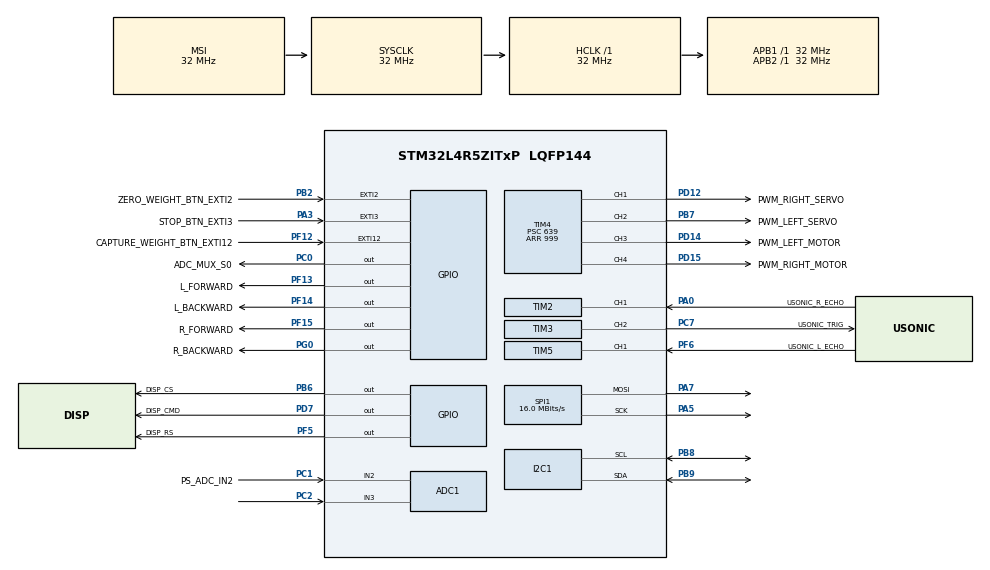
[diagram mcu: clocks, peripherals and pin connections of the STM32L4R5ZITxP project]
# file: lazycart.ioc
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ADC1.Channel-9\#ChannelRegularConversion=ADC_CHANNEL_2
ADC1.ContinuousConvMode=DISABLE
ADC1.DMAContinuousRequests=DISABLE
ADC1.NbrOfConversionFlag=1
ADC1.OffsetNumber-9\#ChannelRegularConversion=ADC_OFFSET_NONE
ADC1.Rank-9\#ChannelRegularConversion=1
ADC1.SamplingTime-9\#ChannelRegularConversion=ADC_SAMPLETIME_2CYCLES_5
ADC1.SingleDiff-9\#ChannelRegularConversion=ADC_DIFFERENTIAL_ENDED
ADC1.master=1
I2C1.Timing=0x00707CBB
Mcu.Family=STM32L4
Mcu.Name=STM32L4R5ZITxP
Mcu.Package=LQFP144
NVIC.EXTI15_10_IRQn=true\:0\:0\:false\:false\:true\:true\:true\:true
NVIC.EXTI2_IRQn=true\:0\:0\:false\:false\:true\:true\:true\:true
NVIC.EXTI3_IRQn=true\:0\:0\:false\:false\:true\:true\:true\:true
NVIC.PriorityGroup=NVIC_PRIORITYGROUP_3
NVIC.TIM1_UP_TIM16_IRQn=true\:0\:0\:true\:false\:true\:true\:true\:true
NVIC.TIM2_IRQn=true\:0\:0\:false\:false\:true\:true\:true\:true
NVIC.TIM5_IRQn=true\:0\:0\:false\:false\:true\:true\:true\:true
NVIC.TIM7_IRQn=true\:0\:0\:false\:false\:true\:true\:true\:true
PA0.GPIO_Label=USONIC_R_ECHO
PA0.Signal=S_TIM2_CH1
PA1.Signal=ADCx_IN6
PA10.Signal=USB_OTG_FS_ID
PA13\ (JTMS/SWDIO).Signal=SYS_JTMS-SWDIO
PA14\ (JTCK/SWCLK).Signal=SYS_JTCK-SWCLK
PA3.GPIO_Label=STOP_BTN_EXTI3
PA3.Signal=GPXTI3
PA4.Signal=SPI1_NSS
PA5.Mode=TX_Only_Simplex_Unidirect_Master
PA5.Signal=SPI1_SCK
PA6.Signal=SPI1_MISO
PA7.Mode=TX_Only_Simplex_Unidirect_Master
PA7.Signal=SPI1_MOSI
PA8.Signal=USB_OTG_FS_SOF
PA9.Signal=USB_OTG_FS_VBUS
PB0.Signal=S_TIM3_CH3
PB1.Signal=ADCx_IN16
PB10.Signal=S_TIM2_CH3
PB12.Signal=SAI2_FS_A
PB13.Signal=SAI2_SCK_A
PB14.Signal=S_TIM15_CH1
PB15.Signal=SAI2_SD_A
PB2.GPIO_Label=ZERO_WEIGHT_BTN_EXTI2
PB2.Signal=GPXTI2
PB3\ (JTDO/TRACESWO).Signal=SPI3_SCK
PB6.GPIO_Label=DISP_CS
PB6.PinState=GPIO_PIN_SET
PB6.Signal=GPIO_Output
PB7.GPIO_Label=PWM_LEFT_SERVO
PB7.Signal=S_TIM4_CH2
PB8.Mode=I2C
PB8.Signal=I2C1_SCL
PB9.Mode=I2C
PB9.Signal=I2C1_SDA
PC0.GPIO_Label=ADC_MUX_S0
PC0.Signal=GPIO_Output
PC1.GPIO_Label=PS_ADC_IN2
PC1.Signal=ADCx_IN2
PC10.Signal=SDMMC1_D2
PC11.Signal=SDMMC1_D3
PC12.Signal=SDMMC1_CK
PC13.Signal=SYS_WKUP2
PC14-OSC32_IN\ (PC14).Signal=RCC_OSC32_IN
PC15-OSC32_OUT\ (PC15).Signal=RCC_OSC32_OUT
PC2.Signal=ADCx_IN3
PC3.Signal=ADCx_IN4
PC4.Signal=ADCx_IN13
PC5.Signal=ADCx_IN14
PC6.Signal=SAI2_MCLK_A
PC7.GPIO_Label=USONIC_TRIG
PC7.Signal=S_TIM3_CH2
PC8.Signal=SDMMC1_D0
PC9.Signal=SDMMC1_D1
PD0.Signal=CAN1_RX
PD12.GPIO_Label=PWM_RIGHT_SERVO
PD12.Signal=S_TIM4_CH1
PD14.GPIO_Label=PWM_LEFT_MOTOR
PD14.Signal=S_TIM4_CH3
PD15.GPIO_Label=PWM_RIGHT_MOTOR
PD15.Signal=S_TIM4_CH4
PD2.Signal=SDMMC1_CMD
PD3.Signal=USART2_CTS
PD4.Signal=USART2_RTS
PD5.Signal=USART2_TX
PD6.Signal=USART2_RX
PD7.GPIO_Label=DISP_CMD
PD7.Signal=GPIO_Output
PD8.Signal=USART3_TX
PD9.Signal=USART3_RX
PE0.Signal=S_TIM4_ETR
PE10.Signal=TIM1_CH2N
PE11.Signal=S_TIM1_CH2
PE12.Signal=TIM1_CH3N
PE13.Signal=S_TIM1_CH3
PE14.Signal=TIM1_BKIN2
PE15.Signal=TIM1_BKIN
PE2.Signal=SAI1_MCLK_A
PE3.Signal=SAI1_SD_B
PE7.Signal=S_TIM1_ETR
PE8.Signal=TIM1_CH1N
PE9.Signal=S_TIM1_CH1
PF0.Signal=I2C2_SDA
PF1.Signal=I2C2_SCL
PF12.GPIO_Label=CAPTURE_WEIGHT_BTN_EXTI12
PF12.Signal=GPXTI12
PF13.GPIO_Label=L_FORWARD
PF13.Signal=GPIO_Output
PF14.GPIO_Label=L_BACKWARD
PF14.Signal=GPIO_Output
PF15.GPIO_Label=R_FORWARD
PF15.Signal=GPIO_Output
PF2.Signal=I2C2_SMBA
PF5.GPIO_Label=DISP_RS
PF5.Signal=GPIO_Output
PF6.GPIO_Label=USONIC_L_ECHO
PF6.Signal=S_TIM5_CH1
PF7.Signal=SAI1_MCLK_B
PG0.GPIO_Label=R_BACKWARD
PG0.Signal=GPIO_Output
PG7.Signal=LPUART1_TX
PG8.Signal=LPUART1_RX
PH0-OSC_IN\ (PH0).Signal=RCC_OSC_IN
PH1-OSC_OUT\ (PH1).Signal=RCC_OSC_OUT
ProjectManager.HeapSize=0x200
ProjectManager.StackSize=0x400
ProjectManager.TargetToolchain=STM32CubeIDE
RCC.ADCFreq_Value=64000000
RCC.AHBFreq_Value=32000000
RCC.APB1Freq_Value=32000000
RCC.APB1TimFreq_Value=32000000
RCC.APB2Freq_Value=32000000
RCC.APB2TimFreq_Value=32000000
RCC.CortexFreq_Value=32000000
RCC.HCLKFreq_Value=32000000
RCC.HSE_VALUE=8000000
RCC.HSI48_VALUE=48000000
RCC.HSI_VALUE=16000000
RCC.LSE_VALUE=32768
RCC.MSIClockRange=RCC_MSIRANGE_10
RCC.MSI_VALUE=32000000
RCC.PLLM2=2
RCC.SYSCLKFreq_VALUE=32000000
RCC.USBFreq_Value=64000000
RCC.VCOOutputFreq_Value=256000000
SH.ADCx_IN13.0=ADC1_IN13
SH.ADCx_IN14.0=ADC1_IN14
SH.ADCx_IN16.0=ADC1_IN16
SH.ADCx_IN2.0=ADC1_IN2,IN2-Differential
SH.ADCx_IN3.0=ADC1_IN3,IN2-Differential
SH.ADCx_IN4.0=ADC1_IN4
SH.ADCx_IN6.0=ADC1_IN6
SH.S_TIM15_CH1.0=TIM15_CH1
SH.S_TIM1_CH1.0=TIM1_CH1
SH.S_TIM1_CH2.0=TIM1_CH2
SH.S_TIM1_CH3.0=TIM1_CH3
SH.S_TIM1_ETR.0=TIM1_ETR
SH.S_TIM2_CH1.0=TIM2_CH1,Input_Capture1_from_TI1
SH.S_TIM2_CH3.0=TIM2_CH3
SH.S_TIM3_CH2.0=TIM3_CH2,PWM Generation2 CH2
SH.S_TIM3_CH3.0=TIM3_CH3
SH.S_TIM4_CH1.0=TIM4_CH1,PWM Generation1 CH1
SH.S_TIM4_CH2.0=TIM4_CH2,PWM Generation2 CH2
SH.S_TIM4_CH3.0=TIM4_CH3,PWM Generation3 CH3
SH.S_TIM4_CH4.0=TIM4_CH4,PWM Generation4 CH4
SH.S_TIM4_ETR.0=TIM4_ETR
SH.S_TIM5_CH1.0=TIM5_CH1,Input_Capture1_from_TI1
SPI1.CalculateBaudRate=16.0 MBits/s
SPI1.DataSize=SPI_DATASIZE_8BIT
SPI1.Direction=SPI_DIRECTION_2LINES
SPI1.Mode=SPI_MODE_MASTER
SPI1.NSSPMode=SPI_NSS_PULSE_DISABLE
SPI1.VirtualType=VM_MASTER
TIM16.Period=4999
TIM16.Prescaler=319
TIM2.Channel-Input_Capture1_from_TI1=TIM_CHANNEL_1
TIM2.Period=65536
TIM2.Prescaler=31
TIM3.Channel-PWM\ Generation2\ CH2=TIM_CHANNEL_2
TIM3.Period=3999
TIM3.Prescaler=319
TIM3.Pulse-PWM\ Generation2\ CH2=1
TIM4.Channel-PWM\ Generation1\ CH1=TIM_CHANNEL_1
TIM4.Channel-PWM\ Generation2\ CH2=TIM_CHANNEL_2
TIM4.Channel-PWM\ Generation3\ CH3=TIM_CHANNEL_3
TIM4.Channel-PWM\ Generation4\ CH4=TIM_CHANNEL_4
TIM4.Period=999
TIM4.Prescaler=639
TIM4.Pulse-PWM\ Generation3\ CH3=0
TIM4.Pulse-PWM\ Generation4\ CH4=0
TIM5.Channel-Input_Capture1_from_TI1=TIM_CHANNEL_1
TIM5.Period=65536
TIM5.Prescaler=31
TIM7.AutoReloadPreload=TIM_AUTORELOAD_PRELOAD_ENABLE
TIM7.Period=999
TIM7.Prescaler=319
VP_TIM16_VS_ClockSourceINT.Mode=Enable_Timer
VP_TIM2_VS_ClockSourceINT.Mode=Internal
VP_TIM5_VS_ClockSourceINT.Mode=Internal
VP_TIM7_VS_ClockSourceINT.Mode=Enable_Timer
board=NUCLEO-L4R5ZI-P

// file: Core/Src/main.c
/* USER CODE BEGIN Header */
/**
  ******************************************************************************
  * @file           : main.c
  * @brief          : Main program body
  ******************************************************************************
  * @attention
  *
  * Copyright (c) 2024 STMicroelectronics.
  * All rights reserved.
  *
  * This software is licensed under terms that can be found in the LICENSE file
  * in the root directory of this software component.
  * If no LICENSE file comes with this software, it is provided AS-IS.
  *
  ******************************************************************************
  */
/* USER CODE END Header */
#include "main.h"

/* USER CODE BEGIN Includes */

#include "pixy.h"
#include "drive.h"
#include "motor.h"
#include "servo.h"
#include "weightdisplay.h"

/* USER CODE END Includes */

ADC_HandleTypeDef hadc1;

I2C_HandleTypeDef hi2c1;

SPI_HandleTypeDef hspi1;

TIM_HandleTypeDef htim2;
TIM_HandleTypeDef htim3;
TIM_HandleTypeDef htim4;
TIM_HandleTypeDef htim5;
TIM_HandleTypeDef htim7;
TIM_HandleTypeDef htim16;

/* USER CODE BEGIN PV */
#define ULT_SONIC_TRIGGER_TIMER &htim3
#define R_SONIC_ECHO_TIM &htim2
#define L_SONIC_ECHO_TIM &htim5
#define SERVO_PWM_TIMER &htim4

#define MOTOR_PWM_TIMER &htim4
#define MOTOR_UPDATE_TIMER &htim16

#define PIXY_CENTER_VAL 157
#define PIXY_CENTER_THRESHOLD 50
#define PIXY_WIDTH_THRESHOLD 50
#define PIXY_HEIGHT_THRESHOLD 5

#define ADC_UPDATE_TIMER &htim7
#define IR_STOP_THRESHOLD 2200

Pixy pixy;
Motor right_motor;
Motor left_motor;
Servo left_servo;
Servo right_servo;
WeightDisplay wdisplay;

int IR_STOP_FLAG = 0;
int STOP_BTN_STATE = 1;

int weight = 0;
int zero_weight = 0;

/* USER CODE END PV */

void SystemClock_Config(void);
static void MX_GPIO_Init(void);
static void MX_I2C1_Init(void);
static void MX_TIM2_Init(void);
static void MX_TIM5_Init(void);
static void MX_TIM3_Init(void);
static void MX_TIM4_Init(void);
static void MX_SPI1_Init(void);
static void MX_TIM7_Init(void);
static void MX_ADC1_Init(void);
static void MX_TIM16_Init(void);

int main(void)
{

  /* MCU Configuration--------------------------------------------------------*/

  /* Reset of all peripherals, Initializes the Flash interface and the Systick. */
  HAL_Init();

  /* Configure the system clock */
  SystemClock_Config();

  /* Initialize all configured peripherals */
  MX_GPIO_Init();
  MX_I2C1_Init();
  MX_TIM2_Init();
  MX_TIM5_Init();
  MX_TIM3_Init();
  MX_TIM4_Init();
  MX_SPI1_Init();
  MX_TIM7_Init();
  MX_ADC1_Init();
  MX_TIM16_Init();
  /* USER CODE BEGIN 2 */
  weight_display_ctor(&wdisplay, &hspi1, GPIOB, GPIO_PIN_6, GPIOF, GPIO_PIN_5, GPIOD, GPIO_PIN_7);
  weight_display_credits(&wdisplay);
  HAL_Delay(1000);
  weight_display_clear(&wdisplay);

  pixy_ctor(&pixy, &hi2c1);

  HAL_TIM_PWM_Start(ULT_SONIC_TRIGGER_TIMER, TIM_CHANNEL_2);
  HAL_TIM_IC_Start_IT(L_SONIC_ECHO_TIM, TIM_CHANNEL_1);
  HAL_TIM_IC_Start_IT(R_SONIC_ECHO_TIM, TIM_CHANNEL_1);

  motor_ctor(&right_motor, MOTOR_PWM_TIMER, TIM_CHANNEL_4, R_FORWARD_GPIO_Port, R_FORWARD_Pin, R_BACKWARD_GPIO_Port, R_BACKWARD_Pin);
  motor_ctor(&left_motor, MOTOR_PWM_TIMER, TIM_CHANNEL_3, L_FORWARD_GPIO_Port, L_FORWARD_Pin, L_BACKWARD_GPIO_Port, L_BACKWARD_Pin);
  start_motor_pwm(&right_motor);
  start_motor_pwm(&left_motor);

  servo_ctor(&left_servo, SERVO_PWM_TIMER, TIM_CHANNEL_1);
  servo_ctor(&right_servo, SERVO_PWM_TIMER, TIM_CHANNEL_2);
  servo_start_pwm(&left_servo);
  servo_start_pwm(&right_servo);

  servo_set_ninety_deg(&left_servo);
  servo_set_ninety_deg(&right_servo);

  HAL_GPIO_WritePin(ADC_MUX_S0_GPIO_Port, ADC_MUX_S0_Pin, GPIO_PIN_SET);

  /* USER CODE END 2 */

  /* Infinite loop */
  /* USER CODE BEGIN WHILE */
  while (1)
  {
    HAL_ADC_Start(&hadc1);
	  if (IR_STOP_FLAG == 1 || STOP_BTN_STATE == 1) {
	    stop_drive(&left_motor, &right_motor);
	  } else {
      get_blocks_i2c(&pixy);
      uint16_t subject_x_pos = get_x(&pixy);
      if (subject_x_pos > PIXY_CENTER_VAL + PIXY_CENTER_THRESHOLD) {
        spin_right(&left_motor, &right_motor);
      } else if (subject_x_pos < PIXY_CENTER_VAL - PIXY_CENTER_THRESHOLD) {
        spin_left(&left_motor, &right_motor);
      } else {
        uint16_t subject_block_width = get_block_width(&pixy);
        uint16_t subject_block_height = get_block_height(&pixy);
        if (subject_block_width > PIXY_WIDTH_THRESHOLD && subject_block_height > PIXY_HEIGHT_THRESHOLD) {
          stop_drive(&left_motor, &right_motor);
        } else {
          drive_forward(&left_motor, &right_motor);
        }
      }
	  }
    if (left_usonic.pulse_width < right_usonic.pulse_width + 300) {
    if (left_servo.ccr > 40){
      servo_set_pwm_ccr(&left_servo, left_servo.ccr - 3);
      servo_set_pwm_ccr(&right_servo, right_servo.ccr - 3);
    }
    } else if (right_usonic.pulse_width < left_usonic.pulse_width + 300) {
    if (right_servo.ccr < 110){
      servo_set_pwm_ccr(&left_servo, left_servo.ccr + 3);
      servo_set_pwm_ccr(&right_servo, right_servo.ccr + 3);
    }
    }
    HAL_Delay(400);
    HAL_ADC_PollForConversion(&hadc1, 100);
    uint16_t adc_val = HAL_ADC_GetValue(&hadc1);
    if (adc_val > IR_STOP_THRESHOLD) {
      IR_STOP_FLAG = 1;
    } else {
      IR_STOP_FLAG = 0;
    }
    HAL_ADC_Stop(&hadc1);

	HAL_GPIO_WritePin(ADC_MUX_S0_GPIO_Port, ADC_MUX_S0_Pin, GPIO_PIN_SET);
    /* USER CODE END WHILE */

  }
}

void SystemClock_Config(void)
{
  RCC_OscInitTypeDef RCC_OscInitStruct = {0};
  RCC_ClkInitTypeDef RCC_ClkInitStruct = {0};

  /** Configure the main internal regulator output voltage
  */
  if (HAL_PWREx_ControlVoltageScaling(PWR_REGULATOR_VOLTAGE_SCALE1) != HAL_OK)
  {
    Error_Handler();
  }

  /** Initializes the RCC Oscillators according to the specified parameters
  * in the RCC_OscInitTypeDef structure.
  */
  RCC_OscInitStruct.OscillatorType = RCC_OSCILLATORTYPE_MSI;
  RCC_OscInitStruct.MSIState = RCC_MSI_ON;
  RCC_OscInitStruct.MSICalibrationValue = 0;
  RCC_OscInitStruct.MSIClockRange = RCC_MSIRANGE_10;
  RCC_OscInitStruct.PLL.PLLState = RCC_PLL_NONE;
  if (HAL_RCC_OscConfig(&RCC_OscInitStruct) != HAL_OK)
  {
    Error_Handler();
  }

  /** Initializes the CPU, AHB and APB buses clocks
  */
  RCC_ClkInitStruct.ClockType = RCC_CLOCKTYPE_HCLK|RCC_CLOCKTYPE_SYSCLK
                              |RCC_CLOCKTYPE_PCLK1|RCC_CLOCKTYPE_PCLK2;
  RCC_ClkInitStruct.SYSCLKSource = RCC_SYSCLKSOURCE_MSI;
  RCC_ClkInitStruct.AHBCLKDivider = RCC_SYSCLK_DIV1;
  RCC_ClkInitStruct.APB1CLKDivider = RCC_HCLK_DIV1;
  RCC_ClkInitStruct.APB2CLKDivider = RCC_HCLK_DIV1;

  if (HAL_RCC_ClockConfig(&RCC_ClkInitStruct, FLASH_LATENCY_1) != HAL_OK)
  {
    Error_Handler();
  }
}

static void MX_ADC1_Init(void)
{

  ADC_ChannelConfTypeDef sConfig = {0};

  /** Common config
  */
  hadc1.Instance = ADC1;
  hadc1.Init.ClockPrescaler = ADC_CLOCK_ASYNC_DIV1;
  hadc1.Init.Resolution = ADC_RESOLUTION_12B;
  hadc1.Init.DataAlign = ADC_DATAALIGN_RIGHT;
  hadc1.Init.ScanConvMode = ADC_SCAN_DISABLE;
  hadc1.Init.EOCSelection = ADC_EOC_SINGLE_CONV;
  hadc1.Init.LowPowerAutoWait = DISABLE;
  hadc1.Init.ContinuousConvMode = DISABLE;
  hadc1.Init.NbrOfConversion = 1;
  hadc1.Init.DiscontinuousConvMode = DISABLE;
  hadc1.Init.ExternalTrigConv = ADC_SOFTWARE_START;
  hadc1.Init.ExternalTrigConvEdge = ADC_EXTERNALTRIGCONVEDGE_NONE;
  hadc1.Init.DMAContinuousRequests = DISABLE;
  hadc1.Init.Overrun = ADC_OVR_DATA_PRESERVED;
  hadc1.Init.OversamplingMode = DISABLE;
  if (HAL_ADC_Init(&hadc1) != HAL_OK)
  {
    Error_Handler();
  }

  /** Configure Regular Channel
  */
  sConfig.Channel = ADC_CHANNEL_2;
  sConfig.Rank = ADC_REGULAR_RANK_1;
  sConfig.SamplingTime = ADC_SAMPLETIME_2CYCLES_5;
  sConfig.SingleDiff = ADC_DIFFERENTIAL_ENDED;
  sConfig.OffsetNumber = ADC_OFFSET_NONE;
  sConfig.Offset = 0;
  if (HAL_ADC_ConfigChannel(&hadc1, &sConfig) != HAL_OK)
  {
    Error_Handler();
  }

}

static void MX_I2C1_Init(void)
{

  hi2c1.Instance = I2C1;
  hi2c1.Init.Timing = 0x00707CBB;
  hi2c1.Init.OwnAddress1 = 0;
  hi2c1.Init.AddressingMode = I2C_ADDRESSINGMODE_7BIT;
  hi2c1.Init.DualAddressMode = I2C_DUALADDRESS_DISABLE;
  hi2c1.Init.OwnAddress2 = 0;
  hi2c1.Init.OwnAddress2Masks = I2C_OA2_NOMASK;
  hi2c1.Init.GeneralCallMode = I2C_GENERALCALL_DISABLE;
  hi2c1.Init.NoStretchMode = I2C_NOSTRETCH_DISABLE;
  if (HAL_I2C_Init(&hi2c1) != HAL_OK)
  {
    Error_Handler();
  }

  /** Configure Analogue filter
  */
  if (HAL_I2CEx_ConfigAnalogFilter(&hi2c1, I2C_ANALOGFILTER_ENABLE) != HAL_OK)
  {
    Error_Handler();
  }

  /** Configure Digital filter
  */
  if (HAL_I2CEx_ConfigDigitalFilter(&hi2c1, 0) != HAL_OK)
  {
    Error_Handler();
  }

}

static void MX_SPI1_Init(void)
{

  /* SPI1 parameter configuration*/
  hspi1.Instance = SPI1;
  hspi1.Init.Mode = SPI_MODE_MASTER;
  hspi1.Init.Direction = SPI_DIRECTION_2LINES;
  hspi1.Init.DataSize = SPI_DATASIZE_8BIT;
  hspi1.Init.CLKPolarity = SPI_POLARITY_LOW;
  hspi1.Init.CLKPhase = SPI_PHASE_1EDGE;
  hspi1.Init.NSS = SPI_NSS_SOFT;
  hspi1.Init.BaudRatePrescaler = SPI_BAUDRATEPRESCALER_2;
  hspi1.Init.FirstBit = SPI_FIRSTBIT_MSB;
  hspi1.Init.TIMode = SPI_TIMODE_DISABLE;
  hspi1.Init.CRCCalculation = SPI_CRCCALCULATION_DISABLE;
  hspi1.Init.CRCPolynomial = 7;
  hspi1.Init.CRCLength = SPI_CRC_LENGTH_DATASIZE;
  hspi1.Init.NSSPMode = SPI_NSS_PULSE_DISABLE;
  if (HAL_SPI_Init(&hspi1) != HAL_OK)
  {
    Error_Handler();
  }

}

static void MX_TIM2_Init(void)
{

  TIM_ClockConfigTypeDef sClockSourceConfig = {0};
  TIM_MasterConfigTypeDef sMasterConfig = {0};
  TIM_IC_InitTypeDef sConfigIC = {0};

  htim2.Instance = TIM2;
  htim2.Init.Prescaler = 31;
  htim2.Init.CounterMode = TIM_COUNTERMODE_UP;
  htim2.Init.Period = 65536;
  htim2.Init.ClockDivision = TIM_CLOCKDIVISION_DIV1;
  htim2.Init.AutoReloadPreload = TIM_AUTORELOAD_PRELOAD_DISABLE;
  if (HAL_TIM_Base_Init(&htim2) != HAL_OK)
  {
    Error_Handler();
  }
  sClockSourceConfig.ClockSource = TIM_CLOCKSOURCE_INTERNAL;
  if (HAL_TIM_ConfigClockSource(&htim2, &sClockSourceConfig) != HAL_OK)
  {
    Error_Handler();
  }
  if (HAL_TIM_IC_Init(&htim2) != HAL_OK)
  {
    Error_Handler();
  }
  sMasterConfig.MasterOutputTrigger = TIM_TRGO_RESET;
  sMasterConfig.MasterSlaveMode = TIM_MASTERSLAVEMODE_DISABLE;
  if (HAL_TIMEx_MasterConfigSynchronization(&htim2, &sMasterConfig) != HAL_OK)
  {
    Error_Handler();
  }
  sConfigIC.ICPolarity = TIM_INPUTCHANNELPOLARITY_RISING;
  sConfigIC.ICSelection = TIM_ICSELECTION_DIRECTTI;
  sConfigIC.ICPrescaler = TIM_ICPSC_DIV1;
  sConfigIC.ICFilter = 0;
  if (HAL_TIM_IC_ConfigChannel(&htim2, &sConfigIC, TIM_CHANNEL_1) != HAL_OK)
  {
    Error_Handler();
  }

}

static void MX_TIM3_Init(void)
{

  TIM_MasterConfigTypeDef sMasterConfig = {0};
  TIM_OC_InitTypeDef sConfigOC = {0};

  htim3.Instance = TIM3;
  htim3.Init.Prescaler = 319;
  htim3.Init.CounterMode = TIM_COUNTERMODE_UP;
  htim3.Init.Period = 3999;
  htim3.Init.ClockDivision = TIM_CLOCKDIVISION_DIV1;
  htim3.Init.AutoReloadPreload = TIM_AUTORELOAD_PRELOAD_DISABLE;
  if (HAL_TIM_PWM_Init(&htim3) != HAL_OK)
  {
    Error_Handler();
  }
  sMasterConfig.MasterOutputTrigger = TIM_TRGO_RESET;
  sMasterConfig.MasterSlaveMode = TIM_MASTERSLAVEMODE_DISABLE;
  if (HAL_TIMEx_MasterConfigSynchronization(&htim3, &sMasterConfig) != HAL_OK)
  {
    Error_Handler();
  }
  sConfigOC.OCMode = TIM_OCMODE_PWM1;
  sConfigOC.Pulse = 1;
  sConfigOC.OCPolarity = TIM_OCPOLARITY_HIGH;
  sConfigOC.OCFastMode = TIM_OCFAST_DISABLE;
  if (HAL_TIM_PWM_ConfigChannel(&htim3, &sConfigOC, TIM_CHANNEL_2) != HAL_OK)
  {
    Error_Handler();
  }
  HAL_TIM_MspPostInit(&htim3);

}

static void MX_TIM4_Init(void)
{

  TIM_MasterConfigTypeDef sMasterConfig = {0};
  TIM_OC_InitTypeDef sConfigOC = {0};

  htim4.Instance = TIM4;
  htim4.Init.Prescaler = 639;
  htim4.Init.CounterMode = TIM_COUNTERMODE_UP;
  htim4.Init.Period = 999;
  htim4.Init.ClockDivision = TIM_CLOCKDIVISION_DIV1;
  htim4.Init.AutoReloadPreload = TIM_AUTORELOAD_PRELOAD_DISABLE;
  if (HAL_TIM_PWM_Init(&htim4) != HAL_OK)
  {
    Error_Handler();
  }
  sMasterConfig.MasterOutputTrigger = TIM_TRGO_RESET;
  sMasterConfig.MasterSlaveMode = TIM_MASTERSLAVEMODE_DISABLE;
  if (HAL_TIMEx_MasterConfigSynchronization(&htim4, &sMasterConfig) != HAL_OK)
  {
    Error_Handler();
  }
  sConfigOC.OCMode = TIM_OCMODE_PWM1;
  sConfigOC.Pulse = 0;
  sConfigOC.OCPolarity = TIM_OCPOLARITY_HIGH;
  sConfigOC.OCFastMode = TIM_OCFAST_DISABLE;
  if (HAL_TIM_PWM_ConfigChannel(&htim4, &sConfigOC, TIM_CHANNEL_1) != HAL_OK)
  {
    Error_Handler();
  }
  if (HAL_TIM_PWM_ConfigChannel(&htim4, &sConfigOC, TIM_CHANNEL_2) != HAL_OK)
  {
    Error_Handler();
  }
  if (HAL_TIM_PWM_ConfigChannel(&htim4, &sConfigOC, TIM_CHANNEL_3) != HAL_OK)
  {
    Error_Handler();
  }
  if (HAL_TIM_PWM_ConfigChannel(&htim4, &sConfigOC, TIM_CHANNEL_4) != HAL_OK)
  {
    Error_Handler();
  }
  HAL_TIM_MspPostInit(&htim4);

}

static void MX_TIM5_Init(void)
{

  TIM_ClockConfigTypeDef sClockSourceConfig = {0};
  TIM_MasterConfigTypeDef sMasterConfig = {0};
  TIM_IC_InitTypeDef sConfigIC = {0};

  htim5.Instance = TIM5;
  htim5.Init.Prescaler = 31;
  htim5.Init.CounterMode = TIM_COUNTERMODE_UP;
  htim5.Init.Period = 65536;
  htim5.Init.ClockDivision = TIM_CLOCKDIVISION_DIV1;
  htim5.Init.AutoReloadPreload = TIM_AUTORELOAD_PRELOAD_DISABLE;
  if (HAL_TIM_Base_Init(&htim5) != HAL_OK)
  {
    Error_Handler();
  }
  sClockSourceConfig.ClockSource = TIM_CLOCKSOURCE_INTERNAL;
  if (HAL_TIM_ConfigClockSource(&htim5, &sClockSourceConfig) != HAL_OK)
  {
    Error_Handler();
  }
  if (HAL_TIM_IC_Init(&htim5) != HAL_OK)
  {
    Error_Handler();
  }
  sMasterConfig.MasterOutputTrigger = TIM_TRGO_RESET;
  sMasterConfig.MasterSlaveMode = TIM_MASTERSLAVEMODE_DISABLE;
  if (HAL_TIMEx_MasterConfigSynchronization(&htim5, &sMasterConfig) != HAL_OK)
  {
    Error_Handler();
  }
  sConfigIC.ICPolarity = TIM_INPUTCHANNELPOLARITY_RISING;
  sConfigIC.ICSelection = TIM_ICSELECTION_DIRECTTI;
  sConfigIC.ICPrescaler = TIM_ICPSC_DIV1;
  sConfigIC.ICFilter = 0;
  if (HAL_TIM_IC_ConfigChannel(&htim5, &sConfigIC, TIM_CHANNEL_1) != HAL_OK)
  {
    Error_Handler();
  }

}

static void MX_TIM7_Init(void)
{

  TIM_MasterConfigTypeDef sMasterConfig = {0};

  htim7.Instance = TIM7;
  htim7.Init.Prescaler = 319;
  htim7.Init.CounterMode = TIM_COUNTERMODE_UP;
  htim7.Init.Period = 999;
  htim7.Init.AutoReloadPreload = TIM_AUTORELOAD_PRELOAD_ENABLE;
  if (HAL_TIM_Base_Init(&htim7) != HAL_OK)
  {
    Error_Handler();
  }
  sMasterConfig.MasterOutputTrigger = TIM_TRGO_RESET;
  sMasterConfig.MasterSlaveMode = TIM_MASTERSLAVEMODE_DISABLE;
  if (HAL_TIMEx_MasterConfigSynchronization(&htim7, &sMasterConfig) != HAL_OK)
  {
    Error_Handler();
  }

}

static void MX_TIM16_Init(void)
{

  htim16.Instance = TIM16;
  htim16.Init.Prescaler = 319;
  htim16.Init.CounterMode = TIM_COUNTERMODE_UP;
  htim16.Init.Period = 4999;
  htim16.Init.ClockDivision = TIM_CLOCKDIVISION_DIV1;
  htim16.Init.RepetitionCounter = 0;
  htim16.Init.AutoReloadPreload = TIM_AUTORELOAD_PRELOAD_DISABLE;
  if (HAL_TIM_Base_Init(&htim16) != HAL_OK)
  {
    Error_Handler();
  }

}

static void MX_GPIO_Init(void)
{
  GPIO_InitTypeDef GPIO_InitStruct = {0};

  /* GPIO Ports Clock Enable */
  __HAL_RCC_GPIOE_CLK_ENABLE();
  __HAL_RCC_GPIOC_CLK_ENABLE();
  __HAL_RCC_GPIOF_CLK_ENABLE();
  __HAL_RCC_GPIOH_CLK_ENABLE();
  __HAL_RCC_GPIOA_CLK_ENABLE();
  __HAL_RCC_GPIOB_CLK_ENABLE();
  __HAL_RCC_GPIOG_CLK_ENABLE();
  __HAL_RCC_GPIOD_CLK_ENABLE();
  HAL_PWREx_EnableVddIO2();

  /*Configure GPIO pin Output Level */
  HAL_GPIO_WritePin(GPIOF, DISP_RS_Pin|L_FORWARD_Pin|L_BACKWARD_Pin|R_FORWARD_Pin, GPIO_PIN_RESET);

  /*Configure GPIO pin Output Level */
  HAL_GPIO_WritePin(ADC_MUX_S0_GPIO_Port, ADC_MUX_S0_Pin, GPIO_PIN_RESET);

  /*Configure GPIO pin Output Level */
  HAL_GPIO_WritePin(R_BACKWARD_GPIO_Port, R_BACKWARD_Pin, GPIO_PIN_RESET);

  /*Configure GPIO pin Output Level */
  HAL_GPIO_WritePin(DISP_CMD_GPIO_Port, DISP_CMD_Pin, GPIO_PIN_RESET);

  /*Configure GPIO pin Output Level */
  HAL_GPIO_WritePin(DISP_CS_GPIO_Port, DISP_CS_Pin, GPIO_PIN_SET);

  /*Configure GPIO pins : PE2 PE3 */
  GPIO_InitStruct.Pin = GPIO_PIN_2|GPIO_PIN_3;
  GPIO_InitStruct.Mode = GPIO_MODE_AF_PP;
  GPIO_InitStruct.Pull = GPIO_NOPULL;
  GPIO_InitStruct.Speed = GPIO_SPEED_FREQ_LOW;
  GPIO_InitStruct.Alternate = GPIO_AF13_SAI1;
  HAL_GPIO_Init(GPIOE, &GPIO_InitStruct);

  /*Configure GPIO pins : PF0 PF1 PF2 */
  GPIO_InitStruct.Pin = GPIO_PIN_0|GPIO_PIN_1|GPIO_PIN_2;
  GPIO_InitStruct.Mode = GPIO_MODE_AF_OD;
  GPIO_InitStruct.Pull = GPIO_NOPULL;
  GPIO_InitStruct.Speed = GPIO_SPEED_FREQ_VERY_HIGH;
  GPIO_InitStruct.Alternate = GPIO_AF4_I2C2;
  HAL_GPIO_Init(GPIOF, &GPIO_InitStruct);

  /*Configure GPIO pins : DISP_RS_Pin L_FORWARD_Pin L_BACKWARD_Pin R_FORWARD_Pin */
  GPIO_InitStruct.Pin = DISP_RS_Pin|L_FORWARD_Pin|L_BACKWARD_Pin|R_FORWARD_Pin;
  GPIO_InitStruct.Mode = GPIO_MODE_OUTPUT_PP;
  GPIO_InitStruct.Pull = GPIO_NOPULL;
  GPIO_InitStruct.Speed = GPIO_SPEED_FREQ_LOW;
  HAL_GPIO_Init(GPIOF, &GPIO_InitStruct);

  /*Configure GPIO pin : PF7 */
  GPIO_InitStruct.Pin = GPIO_PIN_7;
  GPIO_InitStruct.Mode = GPIO_MODE_AF_PP;
  GPIO_InitStruct.Pull = GPIO_NOPULL;
  GPIO_InitStruct.Speed = GPIO_SPEED_FREQ_LOW;
  GPIO_InitStruct.Alternate = GPIO_AF13_SAI1;
  HAL_GPIO_Init(GPIOF, &GPIO_InitStruct);

  /*Configure GPIO pin : ADC_MUX_S0_Pin */
  GPIO_InitStruct.Pin = ADC_MUX_S0_Pin;
  GPIO_InitStruct.Mode = GPIO_MODE_OUTPUT_PP;
  GPIO_InitStruct.Pull = GPIO_NOPULL;
  GPIO_InitStruct.Speed = GPIO_SPEED_FREQ_LOW;
  HAL_GPIO_Init(ADC_MUX_S0_GPIO_Port, &GPIO_InitStruct);

  /*Configure GPIO pin : STOP_BTN_EXTI3_Pin */
  GPIO_InitStruct.Pin = STOP_BTN_EXTI3_Pin;
  GPIO_InitStruct.Mode = GPIO_MODE_IT_RISING;
  GPIO_InitStruct.Pull = GPIO_NOPULL;
  HAL_GPIO_Init(STOP_BTN_EXTI3_GPIO_Port, &GPIO_InitStruct);

  /*Configure GPIO pin : ZERO_WEIGHT_BTN_EXTI2_Pin */
  GPIO_InitStruct.Pin = ZERO_WEIGHT_BTN_EXTI2_Pin;
  GPIO_InitStruct.Mode = GPIO_MODE_IT_RISING;
  GPIO_InitStruct.Pull = GPIO_NOPULL;
  HAL_GPIO_Init(ZERO_WEIGHT_BTN_EXTI2_GPIO_Port, &GPIO_InitStruct);

  /*Configure GPIO pin : CAPTURE_WEIGHT_BTN_EXTI12_Pin */
  GPIO_InitStruct.Pin = CAPTURE_WEIGHT_BTN_EXTI12_Pin;
  GPIO_InitStruct.Mode = GPIO_MODE_IT_RISING;
  GPIO_InitStruct.Pull = GPIO_NOPULL;
  HAL_GPIO_Init(CAPTURE_WEIGHT_BTN_EXTI12_GPIO_Port, &GPIO_InitStruct);

  /*Configure GPIO pin : R_BACKWARD_Pin */
  GPIO_InitStruct.Pin = R_BACKWARD_Pin;
  GPIO_InitStruct.Mode = GPIO_MODE_OUTPUT_PP;
  GPIO_InitStruct.Pull = GPIO_NOPULL;
  GPIO_InitStruct.Speed = GPIO_SPEED_FREQ_LOW;
  HAL_GPIO_Init(R_BACKWARD_GPIO_Port, &GPIO_InitStruct);

  /*Configure GPIO pins : PE7 PE8 PE9 PE10
                           PE11 PE12 PE13 */
  GPIO_InitStruct.Pin = GPIO_PIN_7|GPIO_PIN_8|GPIO_PIN_9|GPIO_PIN_10
                          |GPIO_PIN_11|GPIO_PIN_12|GPIO_PIN_13;
  GPIO_InitStruct.Mode = GPIO_MODE_AF_PP;
  GPIO_InitStruct.Pull = GPIO_NOPULL;
  GPIO_InitStruct.Speed = GPIO_SPEED_FREQ_LOW;
  GPIO_InitStruct.Alternate = GPIO_AF1_TIM1;
  HAL_GPIO_Init(GPIOE, &GPIO_InitStruct);

  /*Configure GPIO pins : PE14 PE15 */
  GPIO_InitStruct.Pin = GPIO_PIN_14|GPIO_PIN_15;
  GPIO_InitStruct.Mode = GPIO_MODE_AF_PP;
  GPIO_InitStruct.Pull = GPIO_NOPULL;
  GPIO_InitStruct.Speed = GPIO_SPEED_FREQ_LOW;
  GPIO_InitStruct.Alternate = GPIO_AF3_TIM1_COMP1;
  HAL_GPIO_Init(GPIOE, &GPIO_InitStruct);

  /*Configure GPIO pins : PB12 PB13 PB15 */
  GPIO_InitStruct.Pin = GPIO_PIN_12|GPIO_PIN_13|GPIO_PIN_15;
  GPIO_InitStruct.Mode = GPIO_MODE_AF_PP;
  GPIO_InitStruct.Pull = GPIO_NOPULL;
  GPIO_InitStruct.Speed = GPIO_SPEED_FREQ_LOW;
  GPIO_InitStruct.Alternate = GPIO_AF13_SAI2;
  HAL_GPIO_Init(GPIOB, &GPIO_InitStruct);

  /*Configure GPIO pin : PB14 */
  GPIO_InitStruct.Pin = GPIO_PIN_14;
  GPIO_InitStruct.Mode = GPIO_MODE_AF_PP;
  GPIO_InitStruct.Pull = GPIO_NOPULL;
  GPIO_InitStruct.Speed = GPIO_SPEED_FREQ_LOW;
  GPIO_InitStruct.Alternate = GPIO_AF14_TIM15;
  HAL_GPIO_Init(GPIOB, &GPIO_InitStruct);

  /*Configure GPIO pins : PD8 PD9 */
  GPIO_InitStruct.Pin = GPIO_PIN_8|GPIO_PIN_9;
  GPIO_InitStruct.Mode = GPIO_MODE_AF_PP;
  GPIO_InitStruct.Pull = GPIO_NOPULL;
  GPIO_InitStruct.Speed = GPIO_SPEED_FREQ_VERY_HIGH;
  GPIO_InitStruct.Alternate = GPIO_AF7_USART3;
  HAL_GPIO_Init(GPIOD, &GPIO_InitStruct);

  /*Configure GPIO pins : PG7 PG8 */
  GPIO_InitStruct.Pin = GPIO_PIN_7|GPIO_PIN_8;
  GPIO_InitStruct.Mode = GPIO_MODE_AF_PP;
  GPIO_InitStruct.Pull = GPIO_NOPULL;
  GPIO_InitStruct.Speed = GPIO_SPEED_FREQ_VERY_HIGH;
  GPIO_InitStruct.Alternate = GPIO_AF8_LPUART1;
  HAL_GPIO_Init(GPIOG, &GPIO_InitStruct);

  /*Configure GPIO pin : PC6 */
  GPIO_InitStruct.Pin = GPIO_PIN_6;
  GPIO_InitStruct.Mode = GPIO_MODE_AF_PP;
  GPIO_InitStruct.Pull = GPIO_NOPULL;
  GPIO_InitStruct.Speed = GPIO_SPEED_FREQ_LOW;
  GPIO_InitStruct.Alternate = GPIO_AF13_SAI2;
  HAL_GPIO_Init(GPIOC, &GPIO_InitStruct);

  /*Configure GPIO pins : PC8 PC9 PC10 PC11
                           PC12 */
  GPIO_InitStruct.Pin = GPIO_PIN_8|GPIO_PIN_9|GPIO_PIN_10|GPIO_PIN_11
                          |GPIO_PIN_12;
  GPIO_InitStruct.Mode = GPIO_MODE_AF_PP;
  GPIO_InitStruct.Pull = GPIO_NOPULL;
  GPIO_InitStruct.Speed = GPIO_SPEED_FREQ_VERY_HIGH;
  GPIO_InitStruct.Alternate = GPIO_AF12_SDMMC1;
  HAL_GPIO_Init(GPIOC, &GPIO_InitStruct);

  /*Configure GPIO pins : PA8 PA10 */
  GPIO_InitStruct.Pin = GPIO_PIN_8|GPIO_PIN_10;
  GPIO_InitStruct.Mode = GPIO_MODE_AF_PP;
  GPIO_InitStruct.Pull = GPIO_NOPULL;
  GPIO_InitStruct.Speed = GPIO_SPEED_FREQ_VERY_HIGH;
  GPIO_InitStruct.Alternate = GPIO_AF10_OTG_FS;
  HAL_GPIO_Init(GPIOA, &GPIO_InitStruct);

  /*Configure GPIO pin : PA9 */
  GPIO_InitStruct.Pin = GPIO_PIN_9;
  GPIO_InitStruct.Mode = GPIO_MODE_INPUT;
  GPIO_InitStruct.Pull = GPIO_NOPULL;
  HAL_GPIO_Init(GPIOA, &GPIO_InitStruct);

  /*Configure GPIO pin : PD0 */
  GPIO_InitStruct.Pin = GPIO_PIN_0;
  GPIO_InitStruct.Mode = GPIO_MODE_AF_PP;
  GPIO_InitStruct.Pull = GPIO_NOPULL;
  GPIO_InitStruct.Speed = GPIO_SPEED_FREQ_VERY_HIGH;
  GPIO_InitStruct.Alternate = GPIO_AF9_CAN1;
  HAL_GPIO_Init(GPIOD, &GPIO_InitStruct);

  /*Configure GPIO pin : PD2 */
  GPIO_InitStruct.Pin = GPIO_PIN_2;
  GPIO_InitStruct.Mode = GPIO_MODE_AF_PP;
  GPIO_InitStruct.Pull = GPIO_NOPULL;
  GPIO_InitStruct.Speed = GPIO_SPEED_FREQ_VERY_HIGH;
  GPIO_InitStruct.Alternate = GPIO_AF12_SDMMC1;
  HAL_GPIO_Init(GPIOD, &GPIO_InitStruct);

  /*Configure GPIO pins : PD3 PD4 PD5 PD6 */
  GPIO_InitStruct.Pin = GPIO_PIN_3|GPIO_PIN_4|GPIO_PIN_5|GPIO_PIN_6;
  GPIO_InitStruct.Mode = GPIO_MODE_AF_PP;
  GPIO_InitStruct.Pull = GPIO_NOPULL;
  GPIO_InitStruct.Speed = GPIO_SPEED_FREQ_VERY_HIGH;
  GPIO_InitStruct.Alternate = GPIO_AF7_USART2;
  HAL_GPIO_Init(GPIOD, &GPIO_InitStruct);

  /*Configure GPIO pin : DISP_CMD_Pin */
  GPIO_InitStruct.Pin = DISP_CMD_Pin;
  GPIO_InitStruct.Mode = GPIO_MODE_OUTPUT_PP;
  GPIO_InitStruct.Pull = GPIO_NOPULL;
  GPIO_InitStruct.Speed = GPIO_SPEED_FREQ_LOW;
  HAL_GPIO_Init(DISP_CMD_GPIO_Port, &GPIO_InitStruct);

  /*Configure GPIO pin : PB3 */
  GPIO_InitStruct.Pin = GPIO_PIN_3;
  GPIO_InitStruct.Mode = GPIO_MODE_AF_PP;
  GPIO_InitStruct.Pull = GPIO_NOPULL;
  GPIO_InitStruct.Speed = GPIO_SPEED_FREQ_VERY_HIGH;
  GPIO_InitStruct.Alternate = GPIO_AF6_SPI3;
  HAL_GPIO_Init(GPIOB, &GPIO_InitStruct);

  /*Configure GPIO pin : DISP_CS_Pin */
  GPIO_InitStruct.Pin = DISP_CS_Pin;
  GPIO_InitStruct.Mode = GPIO_MODE_OUTPUT_PP;
  GPIO_InitStruct.Pull = GPIO_NOPULL;
  GPIO_InitStruct.Speed = GPIO_SPEED_FREQ_LOW;
  HAL_GPIO_Init(DISP_CS_GPIO_Port, &GPIO_InitStruct);

  /* EXTI interrupt init*/
  HAL_NVIC_SetPriority(EXTI2_IRQn, 0, 0);
  HAL_NVIC_EnableIRQ(EXTI2_IRQn);

  HAL_NVIC_SetPriority(EXTI3_IRQn, 0, 0);
  HAL_NVIC_EnableIRQ(EXTI3_IRQn);

  HAL_NVIC_SetPriority(EXTI15_10_IRQn, 0, 0);
  HAL_NVIC_EnableIRQ(EXTI15_10_IRQn);

}

/* USER CODE BEGIN 4 */

void HAL_TIM_IC_CaptureCallback(TIM_HandleTypeDef* htim) {
	static uint8_t l_usonic_capture_state = 0;
	static uint8_t r_usonic_capture_state = 0;
  if (htim == L_SONIC_ECHO_TIM) {
	  if (l_usonic_capture_state == 0) {
		  l_usonic_capture_state = 1;
      __HAL_TIM_SET_CAPTUREPOLARITY(L_SONIC_ECHO_TIM, TIM_CHANNEL_1, TIM_INPUTCHANNELPOLARITY_FALLING);
      __HAL_TIM_SET_COUNTER(L_SONIC_ECHO_TIM, 0);
	  } else {
      __HAL_TIM_SET_CAPTUREPOLARITY(L_SONIC_ECHO_TIM, TIM_CHANNEL_1, TIM_INPUTCHANNELPOLARITY_RISING);
      left_usonic.pulse_width = __HAL_TIM_GET_COUNTER(L_SONIC_ECHO_TIM);
      l_usonic_capture_state = 0;
	  }
  } else if (htim == R_SONIC_ECHO_TIM) {
    if (r_usonic_capture_state == 0) {
      r_usonic_capture_state = 1;
      __HAL_TIM_SET_CAPTUREPOLARITY(R_SONIC_ECHO_TIM, TIM_CHANNEL_1, TIM_INPUTCHANNELPOLARITY_FALLING);
      __HAL_TIM_SET_COUNTER(R_SONIC_ECHO_TIM, 0);
    } else {
      __HAL_TIM_SET_CAPTUREPOLARITY(R_SONIC_ECHO_TIM, TIM_CHANNEL_1, TIM_INPUTCHANNELPOLARITY_RISING);
      right_usonic.pulse_width = __HAL_TIM_GET_COUNTER(R_SONIC_ECHO_TIM);
      r_usonic_capture_state = 0;
  }
  }
}

void HAL_GPIO_EXTI_Callback(uint16_t GPIO_Pin) {
	if (GPIO_Pin == STOP_BTN_EXTI3_Pin) {
    STOP_BTN_STATE = !STOP_BTN_STATE;
	}
	else if (GPIO_Pin == ZERO_WEIGHT_BTN_EXTI2_Pin) {
		HAL_GPIO_WritePin(ADC_MUX_S0_GPIO_Port, ADC_MUX_S0_Pin, GPIO_PIN_RESET);
    HAL_ADC_Start(&hadc1);
    HAL_ADC_PollForConversion(&hadc1, 100);
    int adc_val = HAL_ADC_GetValue(&hadc1);
		zero_weight = 100*pow(2.718,-.00101*adc_val);
		HAL_GPIO_WritePin(ADC_MUX_S0_GPIO_Port, ADC_MUX_S0_Pin, GPIO_PIN_SET);
  }
  else if (GPIO_Pin == CAPTURE_WEIGHT_BTN_EXTI12_Pin) {
    HAL_GPIO_WritePin(ADC_MUX_S0_GPIO_Port, ADC_MUX_S0_Pin, GPIO_PIN_RESET);
    HAL_ADC_Start(&hadc1);
    HAL_ADC_PollForConversion(&hadc1, 100);
    int adc_val = HAL_ADC_GetValue(&hadc1);
    int converted_weight = 100*pow(2.718,-.00101*adc_val);
    HAL_GPIO_WritePin(ADC_MUX_S0_GPIO_Port, ADC_MUX_S0_Pin, GPIO_PIN_SET);
    int display_weight = converted_weight - zero_weight;
    if (display_weight < 0) {
      display_weight = 0;
    }
    weight_display_show_weight(&wdisplay, display_weight);
  }
}

/* USER CODE END 4 */

void Error_Handler(void)
{
  __disable_irq();
  while (1)
  {
  }
}
